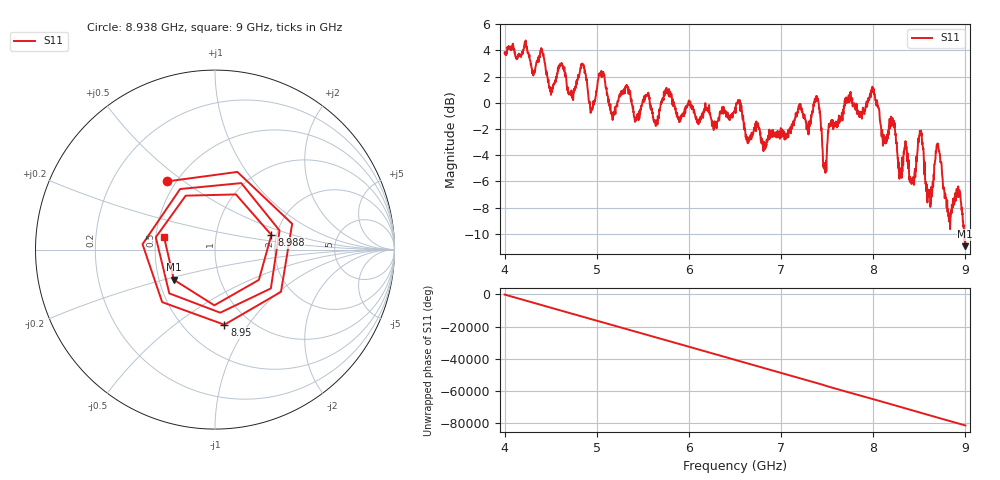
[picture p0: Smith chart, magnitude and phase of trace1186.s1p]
! Created with skrf 1.8.0 (http://scikit-rf.org).
# Hz S RI R 50.0
!freq ReS11 ImS11
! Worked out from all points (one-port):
!   1601 points, 4 GHz to 9 GHz, reference 50 ohm
!   lowest |S11| = -10.9 dB at 8.997 GHz (marker M1), VSWR 1.79, Z = 29.9 - j10.9 ohm
!   |S11| at or under -10 dB: 8.988873 GHz to end of sweep
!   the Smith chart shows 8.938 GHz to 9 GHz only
!   S11 on the Smith chart (normalised r, x): 8.938 GHz: 0.45, +0.44; 8.95 GHz: 0.77, -0.78; 8.988 GHz: 1.87, +0.34; 9 GHz: 0.55, +0.09
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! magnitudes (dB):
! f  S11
! 4 GHz  3.8
! 4.506 GHz  0.8
! 4.625 GHz  2.9
! 4.719 GHz  0.7
! 4.856 GHz  2.9
! 4.941 GHz  -0.6
! 5.047 GHz  2.4
! 5.169 GHz  -1.1
! 5.25 GHz  0.6
! 5.875 GHz  -1.0
! 6.5 GHz  -0.5
! 6.816 GHz  -3.2
! 7.125 GHz  -1.6
! 7.391 GHz  0.5
! 7.475 GHz  -4.7
! 7.75 GHz  0.3
! 8 GHz  0.8
! 8.375 GHz  -4.3
! 8.438 GHz  -5.7
! 8.512 GHz  -2.4
! 8.603 GHz  -6.7
! 8.7 GHz  -3.4
! 8.819 GHz  -8.5
! 8.938 GHz  -6.7
! 8.95 GHz  -7.5
! 8.988 GHz  -9.8
! 8.997 GHz  -10.9
! 9 GHz  -10.6
